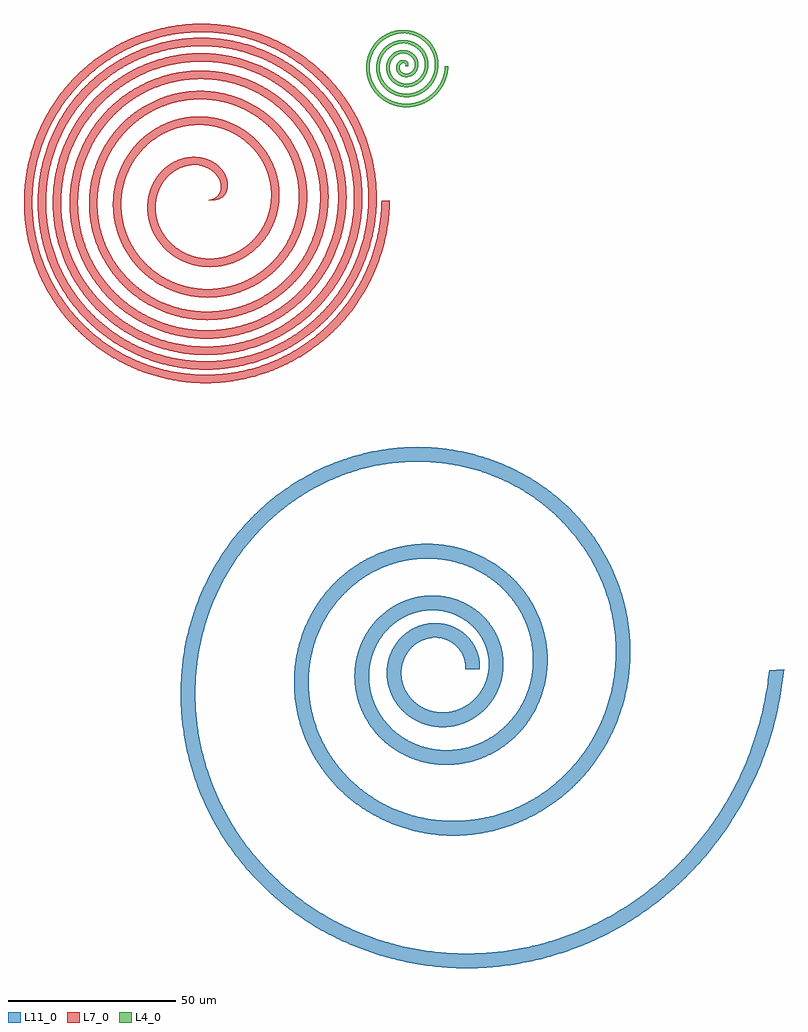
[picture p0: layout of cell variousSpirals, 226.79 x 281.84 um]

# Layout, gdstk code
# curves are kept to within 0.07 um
import gdstk
lib = gdstk.Library(unit=1e-6, precision=1e-09)
def P(c, l, *ps):  # polygons
    for p in ps: c.add(gdstk.Polygon(p, *l))
L4_0 = (4, 0)
L7_0 = (7, 0)
L11_0 = (11, 0)

variousspirals = lib.new_cell('variousSpirals')
P(variousspirals, L4_0, [(40,80),(40.18,80.078),(40.266,80.274),(40.961,80.995),(41.097,80.48),(41.001,80.003)],
  [(40.266,80.274),(40.204,80.541),(39.978,80.764),(39.944,81.764),(40.527,81.499),(40.961,80.995)],
  [(39.978,80.764),(39.592,80.869),(39.155,80.774),(38.413,81.446),(39.161,81.773),(39.944,81.764)],
  [(37.476,79.845),(37.783,80.757),(38.413,81.446),(39.155,80.774),(38.731,80.437),(38.475,79.911)],
  [(38.103,77.792),(37.572,78.763),(37.476,79.845),(38.475,79.911),(38.469,79.187),(38.752,78.555)],
  [(40.297,76.72),(39.055,77.045),(38.103,77.792),(38.752,78.555),(39.392,77.979),(40.201,77.717)],
  [(40.464,76.716),(40.297,76.72),(40.201,77.717),(41.187,77.814),(42.074,78.312),(42.857,77.688),(41.772,76.978)],
  [(42.857,77.688),(42.074,78.312),(42.751,79.2),(43.035,80.356),(44.028,80.484),(43.941,79.643),(43.7,78.894),(43.344,78.257)],
  [(43.035,80.356),(42.811,81.635),(42.091,82.728),(42.691,83.531),(43.598,82.304),(44.002,80.935),(44.028,80.484)],
  [(42.091,82.728),(41.52,83.195),(40.878,83.526),(40.201,83.719),(39.444,83.779),(39.285,84.768),(40.886,84.574),(42.278,83.877),(42.691,83.531)],
  [(36.592,82.458),(35.772,83.032),(36.323,83.58),(37.706,84.419),(39.285,84.768),(39.444,83.779),(38.711,83.692),(37.917,83.428),(37.213,83.016)],
  [(34.503,79.011),(34.506,80.066),(34.738,81.188),(35.166,82.17),(35.772,83.032),(36.592,82.458),(36.107,81.808),(35.732,81.021),(35.519,80.156),(35.487,79.201)],
  [(36.666,75.051),(35.818,75.879),(35.162,76.844),(34.72,77.904),(34.503,79.011),(35.487,79.201),(35.646,78.285),(35.994,77.402),(36.521,76.592),(37.214,75.889)],
  [(40.485,73.732),(39.425,73.821),(38.409,74.086),(37.465,74.514),(36.666,75.051),(37.214,75.889),(38.095,75.306),(39.048,74.927),(40.023,74.748),(41.086,74.764),(41.306,73.787)],
  [(41.306,73.787),(41.086,74.764),(42.194,75.013),(43.196,75.47),(44.101,76.13),(44.835,76.926),(45.69,76.404),(44.793,75.411),(43.788,74.663),(42.552,74.082)],
  [(45.69,76.404),(44.835,76.926),(45.464,77.966),(45.839,79.02),(46.013,80.202),(45.946,81.415),(46.915,81.666),(47.015,80.326),(46.845,78.94),(46.38,77.572)],
  [(45.946,81.415),(45.633,82.608),(45.079,83.732),(44.301,84.737),(43.323,85.579),(43.817,86.45),(44.638,85.802),(45.401,84.995),(45.99,84.154),(46.451,83.248),(46.915,81.666)],
  [(43.323,85.579),(42.18,86.218),(40.914,86.622),(39.574,86.767),(38.214,86.639),(37.933,87.601),(38.944,87.743),(40.034,87.748),(41.181,87.585),(42.208,87.282),(43.817,86.45)],
  [(33.659,83.53),(32.773,83.997),(34.015,85.523),(34.821,86.205),(35.843,86.848),(36.791,87.272),(37.933,87.601),(38.214,86.639),(36.888,86.238),(35.71,85.61),(34.559,84.657)],
  [(31.732,77.49),(31.493,79.191),(31.597,80.887),(32.032,82.51),(32.773,83.997),(33.659,83.53),(32.966,82.16),(32.595,80.803),(32.488,79.307),(32.684,77.801)],
  [(35.865,71.98),(34.414,73.036),(33.215,74.346),(32.311,75.852),(31.732,77.49),(32.684,77.801),(33.215,76.276),(33.971,75.003),(35.024,73.831),(36.305,72.88)],
  [(40.5,70.738),(39.3,70.813),(38.128,71.042),(37.003,71.419),(35.865,71.98),(36.305,72.88),(37.767,72.196),(39.435,71.802),(41.005,71.753),(42.653,72.026),(42.994,71.085),(41.708,70.82)],
  [(42.994,71.085),(42.653,72.026),(44.308,72.668),(45.675,73.546),(46.864,74.678),(47.912,76.182),(48.826,75.771),(47.734,74.16),(46.356,72.811),(44.753,71.774)],
  [(48.826,75.771),(47.912,76.182),(48.606,77.807),(48.965,79.555),(48.978,81.269),(48.61,83.147),(49.541,83.517),(49.955,81.537),(49.967,79.533),(49.583,77.586)],
  [(48.61,83.147),(47.895,84.845),(46.845,86.382),(45.496,87.692),(43.897,88.718),(44.279,89.644),(45.461,88.955),(46.458,88.192),(47.421,87.242),(48.248,86.182),(49.016,84.846),(49.541,83.517)],
  [(43.897,88.718),(42.108,89.412),(40.101,89.745),(38.145,89.664),(36.32,89.224),(35.921,90.143),(37.179,90.503),(38.573,90.719),(39.974,90.751),(41.36,90.602),(42.91,90.211),(44.279,89.644)],
  [(30.466,83.932),(29.528,84.285),(30.286,85.671),(31.299,87.014),(32.324,88.038),(33.467,88.915),(34.61,89.583),(35.921,90.143),(36.32,89.224),(34.508,88.389),(32.884,87.199),(31.516,85.695)],
  [(29.28,75.321),(28.658,77.564),(28.495,79.867),(28.766,82.026),(29.528,84.285),(30.466,83.932),(29.781,81.978),(29.496,79.907),(29.648,77.698),(30.186,75.748)],
  [(35.754,68.692),(33.643,69.842),(31.817,71.377),(30.345,73.229),(29.28,75.321),(30.186,75.748),(31.148,73.829),(32.485,72.124),(34.149,70.707),(36.078,69.641)],
  [(40.5,67.741),(38.07,67.98),(35.754,68.692),(36.078,69.641),(38.308,68.951),(40.429,68.74),(42.68,68.957),(44.861,69.623),(45.316,68.731),(42.949,67.992)],
  [(45.316,68.731),(44.861,69.623),(46.978,70.784),(48.66,72.207),(50.118,74.034),(51.192,76.132),(52.149,75.839),(50.998,73.556),(49.428,71.563),(47.403,69.864)],
  [(52.149,75.839),(51.192,76.132),(51.765,78.068),(51.999,79.967),(53,80),(52.759,77.941)])
P(variousspirals, L7_0, [(-20,40),(-18.615,40.042),(-17.483,40.253),(-16.576,40.659),(-15.872,41.232),(-15.302,42.042),(-14.975,42.944),(-14.867,44.066),(-15.015,45.133),(-13.282,46.949),(-12.864,45.338),(-12.85,43.835),(-13.236,42.41),(-14.026,41.225),(-14.968,40.517),(-16.064,40.127),(-17.117,40.007)],
  [(-15.015,45.133),(-15.632,46.655),(-16.824,48.168),(-18.391,49.328),(-20.295,50.115),(-20.398,52.62),(-18.565,52.056),(-16.915,51.213),(-15.494,50.131),(-14.276,48.766),(-13.282,46.949)],
  [(-29.139,48.371),(-31.01,50.039),(-29.778,50.894),(-28.485,51.6),(-26.602,52.333),(-24.542,52.78),(-22.363,52.875),(-20.398,52.62),(-20.295,50.115),(-22.439,50.452),(-24.708,50.288),(-26.983,49.594)],
  [(-36.785,38.98),(-36.578,40.652),(-36.248,42.113),(-35.73,43.671),(-35.061,45.147),(-34.253,46.525),(-33.319,47.791),(-32.272,48.935),(-31.01,50.039),(-29.139,48.371),(-31.054,46.65),(-31.962,45.509),(-32.68,44.366),(-33.718,41.955),(-34.073,40.586),(-34.286,39.165)],
  [(-32.063,25.968),(-33.258,27.381),(-34.291,28.893),(-35.153,30.485),(-35.84,32.138),(-36.347,33.834),(-36.673,35.552),(-36.818,37.274),(-36.785,38.98),(-34.286,39.165),(-34.351,37.708),(-34.262,36.23),(-34.016,34.75),(-33.563,33.138),(-32.986,31.705),(-32.335,30.458),(-31.469,29.134),(-30.458,27.891)],
  [(-18.201,20.05),(-20.2,20.153),(-21.967,20.417),(-23.875,20.895),(-25.707,21.558),(-27.445,22.397),(-29.228,23.506),(-30.716,24.671),(-32.063,25.968),(-30.458,27.891),(-29.311,26.745),(-28.038,25.71),(-26.504,24.718),(-25.003,23.962),(-23.415,23.357),(-21.756,22.913),(-20.041,22.638),(-18.466,22.54)],
  [(-18.201,20.05),(-18.466,22.54),(-16.697,22.602),(-14.926,22.846),(-13.171,23.274),(-11.453,23.883),(-9.79,24.672),(-8.201,25.634),(-6.704,26.763),(-5.317,28.049),(-3.344,26.507),(-4.895,25.031),(-6.574,23.73),(-8.362,22.615),(-10.238,21.693),(-12.181,20.973),(-14.17,20.458),(-16.184,20.15)],
  [(-3.344,26.507),(-5.317,28.049),(-4.057,29.482),(-2.836,31.212),(-1.89,32.909),(-1.115,34.709),(-0.521,36.592),(-0.117,38.542),(0.089,40.539),(0.101,42.359),(2.581,42.702),(2.579,40.432),(2.35,38.188),(1.899,35.995),(1.234,33.874),(0.364,31.846),(-0.699,29.93),(-1.94,28.145)],
  [(0.101,42.359),(-0.081,44.388),(-0.47,46.403),(-1.065,48.383),(-1.863,50.308),(-2.858,52.155),(-4.043,53.906),(-5.408,55.539),(-6.941,57.037),(-5.462,59.057),(-3.251,56.874),(-1.36,54.44),(0.287,51.592),(1.433,48.788),(2.196,45.883),(2.581,42.702)],
  [(-6.941,57.037),(-8.629,58.382),(-10.456,59.558),(-12.406,60.551),(-14.459,61.347),(-16.595,61.936),(-18.794,62.31),(-21.034,62.462),(-23.292,62.387),(-23.714,64.855),(-20.457,64.942),(-17.24,64.606),(-13.884,63.784),(-10.923,62.615),(-8.162,61.081),(-5.462,59.057)],
  [(-39.249,53.881),(-41.314,55.296),(-38.834,57.99),(-36.021,60.292),(-33.164,62.044),(-30.123,63.399),(-26.955,64.34),(-23.714,64.855),(-23.292,62.387),(-25.545,62.083),(-27.77,61.551),(-29.942,60.793),(-32.04,59.815),(-34.041,58.624),(-35.923,57.229),(-37.666,55.644)],
  [(-46.861,35.181),(-47.079,37.897),(-47.024,40.608),(-46.698,43.286),(-46.108,45.906),(-45.263,48.441),(-44.173,50.867),(-42.851,53.159),(-41.314,55.296),(-39.249,53.881),(-40.655,51.958),(-41.867,49.891),(-42.871,47.701),(-43.655,45.408),(-44.207,43.036),(-44.52,40.608),(-44.588,38.147),(-44.408,35.679)],
  [(-35.823,16.534),(-38.007,18.327),(-39.992,20.321),(-41.759,22.493),(-43.292,24.822),(-44.579,27.282),(-45.607,29.846),(-46.37,32.488),(-46.861,35.181),(-44.408,35.679),(-43.978,33.229),(-43.302,30.822),(-42.382,28.483),(-41.227,26.237),(-39.845,24.108),(-38.249,22.118),(-36.453,20.29),(-34.473,18.643)],
  [(-18.933,10.948),(-21.254,11.052),(-23.266,11.294),(-25.531,11.743),(-27.745,12.369),(-29.894,13.168),(-31.966,14.134),(-33.946,15.259),(-35.823,16.534),(-34.473,18.643),(-32.327,17.196),(-30.037,15.965),(-27.623,14.966),(-25.109,14.211),(-22.52,13.708),(-19.883,13.467),(-17.222,13.492),(-14.565,13.784),(-13.991,11.347),(-16.603,11.03)],
  [(-13.991,11.347),(-14.565,13.784),(-11.939,14.344),(-9.371,15.168),(-6.888,16.25),(-4.516,17.58),(-2.279,19.149),(-0.202,20.941),(1.693,22.941),(3.386,25.13),(5.535,23.846),(3.703,21.449),(1.649,19.255),(-0.606,17.286),(-3.037,15.56),(-5.619,14.092),(-8.324,12.894),(-11.125,11.977)],
  [(5.535,23.846),(3.386,25.13),(4.856,27.487),(6.088,29.99),(7.068,32.614),(7.782,35.335),(8.222,38.124),(8.381,40.955),(8.255,43.798),(7.844,46.626),(10.262,47.275),(10.726,44.202),(10.88,41.11),(10.724,38.029),(10.262,34.99),(9.5,32.023),(8.45,29.159),(7.123,26.424)],
  [(7.844,46.626),(7.149,49.409),(6.175,52.119),(4.929,54.728),(3.423,57.209),(1.67,59.535),(-0.315,61.682),(-2.513,63.626),(-4.903,65.347),(-3.686,67.535),(-0.587,65.281),(2.209,62.681),(4.849,59.523),(6.895,56.339),(8.035,54.098),(8.99,51.779),(9.669,49.698),(10.262,47.275)],
  [(-4.903,65.347),(-7.464,66.826),(-10.169,68.045),(-12.992,68.991),(-15.907,69.652),(-18.884,70.019),(-21.893,70.087),(-24.904,69.852),(-27.888,69.315),(-28.611,71.712),(-24.734,72.389),(-20.819,72.596),(-16.923,72.332),(-12.789,71.525),(-10.319,70.766),(-7.923,69.814),(-5.901,68.829),(-3.686,67.535)],
  [(-47.252,55.171),(-49.476,56.32),(-48.009,58.578),(-46.37,60.706),(-44.57,62.691),(-42.873,64.301),(-39.451,66.952),(-36.024,68.977),(-32.392,70.57),(-28.611,71.712),(-27.888,69.315),(-30.812,68.48),(-33.648,67.352),(-36.366,65.941),(-38.938,64.26),(-41.338,62.323),(-43.538,60.148),(-45.517,57.757)],
  [(-53.019,29.991),(-53.755,33.356),(-54.149,36.769),(-54.2,40.194),(-53.91,43.596),(-53.282,46.943),(-52.325,50.2),(-51.052,53.336),(-49.476,56.32),(-47.252,55.171),(-48.724,52.415),(-49.917,49.516),(-50.817,46.503),(-51.413,43.405),(-51.698,40.252),(-51.665,37.077),(-51.313,33.912),(-50.645,30.787)],
  [(-36.186,8.638),(-39.183,10.493),(-41.972,12.632),(-44.525,15.032),(-46.82,17.669),(-48.833,20.513),(-50.547,23.536),(-51.947,26.706),(-53.019,29.991),(-50.645,30.787),(-49.665,27.736),(-48.38,24.788),(-46.802,21.976),(-44.944,19.327),(-42.825,16.87),(-40.464,14.63),(-37.882,12.632),(-35.106,10.896)],
  [(-19.158,4.233),(-21.659,4.329),(-23.788,4.55),(-27.979,5.372),(-32.027,6.686),(-33.98,7.52),(-36.186,8.638),(-35.106,10.896),(-32.161,9.443),(-29.076,8.288),(-25.882,7.445),(-22.61,6.925),(-19.293,6.733),(-15.964,6.874),(-12.656,7.349),(-9.403,8.155),(-8.534,5.807),(-11.322,5.074),(-13.798,4.619),(-16.294,4.338)],
  [(-8.534,5.807),(-9.403,8.155),(-6.238,9.285),(-3.193,10.73),(-0.3,12.477),(2.412,14.511),(4.914,16.811),(7.179,19.358),(9.184,22.125),(10.907,25.087),(13.197,24.076),(11.361,20.89),(9.222,17.911),(6.802,15.168),(4.127,12.687),(1.225,10.491),(-1.875,8.602),(-5.139,7.036)],
  [(13.197,24.076),(10.907,25.087),(12.328,28.215),(13.433,31.479),(14.209,34.845),(14.645,38.282),(14.735,41.754),(14.477,45.226),(13.872,48.665),(12.924,52.035),(15.244,52.975),(16.275,49.368),(16.938,45.686),(17.23,41.965),(17.148,38.243),(16.695,34.557),(15.879,30.943),(14.708,27.438)],
  [(12.924,52.035),(11.64,55.301),(10.032,58.431),(8.114,61.392),(5.904,64.153),(3.423,66.687),(0.694,68.965),(-2.257,70.964),(-5.4,72.663),(-4.459,74.983),(-0.438,72.778),(3.279,70.115),(6.641,67.035),(9.601,63.584),(11.331,61.102),(12.854,58.495),(14.161,55.78),(15.244,52.975)],
  [(-5.4,72.663),(-8.706,74.042),(-12.141,75.086),(-15.672,75.784),(-19.265,76.126),(-22.882,76.107),(-26.488,75.725),(-30.046,74.984),(-33.521,73.888),(-34.532,76.178),(-32.319,76.935),(-30.069,77.556),(-25.486,78.387),(-23.17,78.594),(-20.849,78.661),(-16.225,78.379),(-13.182,77.885),(-10.195,77.15),(-7.281,76.18),(-4.459,74.983)],
  [(-54.372,54.175),(-56.72,55.045),(-55.339,57.9),(-53.737,60.631),(-51.924,63.22),(-49.914,65.652),(-48.284,67.363),(-46.557,68.972),(-44.739,70.472),(-42.837,71.858),(-38.809,74.271),(-34.532,76.178),(-33.521,73.888),(-36.877,72.446),(-40.08,70.672),(-43.097,68.582),(-45.896,66.195),(-48.449,63.535),(-50.728,60.625),(-52.71,57.495)],
  [(-57.001,23.868),(-58.346,27.668),(-59.303,31.576),(-59.863,35.551),(-60.023,39.554),(-59.782,43.544),(-59.146,47.482),(-58.121,51.328),(-56.72,55.045),(-54.372,54.175),(-55.698,50.697),(-56.672,47.096),(-57.283,43.408),(-57.522,39.668),(-57.386,35.914),(-56.874,32.185),(-55.991,28.517),(-54.742,24.947)],
  [(-34.442,1.59),(-38.168,3.299),(-41.697,5.366),(-44.995,7.771),(-48.03,10.488),(-50.772,13.489),(-53.197,16.742),(-55.279,20.213),(-57.001,23.868),(-54.742,24.947),(-53.14,21.513),(-51.198,18.249),(-48.934,15.188),(-46.37,12.363),(-43.531,9.802),(-40.443,7.533),(-37.137,5.58),(-33.644,3.963)],
  [(-19.159,-1.341),(-22.872,-1.175),(-26.55,-0.677),(-29.764,0.041),(-33.291,1.151),(-34.442,1.59),(-33.644,3.963),(-30,2.701),(-26.24,1.808),(-22.401,1.293),(-18.521,1.164),(-14.64,1.424),(-10.797,2.072),(-7.029,3.103),(-3.376,4.509),(-2.228,2.284),(-6.109,0.775),(-10.52,-0.425),(-15.026,-1.132)],
  [(-2.228,2.284),(-3.376,4.509),(0.126,6.276),(3.441,8.388),(6.535,10.826),(9.375,13.567),(11.932,16.583),(14.18,19.847),(16.094,23.327),(17.654,26.987),(20.051,26.262),(18.406,22.366),(16.384,18.66),(14.007,15.182),(11.299,11.965),(8.289,9.04),(5.008,6.436),(1.491,4.177)],
  [(20.051,26.262),(17.654,26.987),(18.742,30.407),(19.448,33.523),(19.903,36.691),(20.104,39.89),(20.086,42.298),(19.923,44.703),(19.617,47.097),(19.166,49.471),(18.573,51.816),(17.84,54.125),(16.138,58.233),(18.327,59.448),(20.004,55.495),(21.274,51.403),(22.128,47.212),(22.558,42.965),(22.562,38.704),(22.141,34.472),(21.3,30.31)],
  [(16.138,58.233),(14.62,61.095),(12.641,64.164),(10.653,66.736),(8.462,69.145),(5.144,72.162),(3.196,73.65),(1.161,75.021),(-0.955,76.268),(-3.145,77.387),(-5.4,78.375),(-7.714,79.226),(-7.062,81.643),(-4.604,80.748),(-2.208,79.709),(2,77.442),(4.18,76.016),(6.267,74.464),(8.256,72.792),(10.139,71.004),(12.75,68.124),(14.842,65.38),(16.704,62.481),(18.327,59.448)],
  [(-39.873,76.686),(-41.154,78.837),(-37.551,80.518),(-34.237,81.733),(-30.841,82.677),(-27.385,83.346),(-24.768,83.665),(-22.139,83.826),(-17.32,83.711),(-14.709,83.425),(-12.123,82.984),(-9.571,82.389),(-7.062,81.643),(-7.714,79.226),(-11.676,80.332),(-15.736,81.039),(-19.854,81.337),(-23.989,81.222),(-28.099,80.694),(-32.144,79.756),(-36.082,78.416)],
  [(-60.749,51.468),(-63.185,52.047),(-61.864,55.855),(-60.408,59.124),(-58.698,62.262),(-56.745,65.249),(-55.129,67.379),(-53.39,69.406),(-51.534,71.323),(-49.568,73.123),(-45.705,76.1),(-43.469,77.538),(-41.154,78.837),(-39.873,76.686),(-43.48,74.582),(-46.864,72.124),(-49.991,69.335),(-52.829,66.242),(-55.349,62.874),(-57.524,59.266),(-59.33,55.451)],
  [(-59.248,17.111),(-61.269,21.175),(-62.871,25.413),(-64.04,29.783),(-64.766,34.24),(-65.042,38.74),(-64.868,43.238),(-64.246,47.688),(-63.185,52.047),(-60.749,51.468),(-61.594,48.187),(-62.176,44.843),(-62.508,41.035),(-62.515,37.631),(-62.079,32.964),(-61.625,30.444),(-61.021,27.952),(-60.267,25.499),(-59.366,23.093),(-58.321,20.743),(-57.136,18.457)],
  [(-31.067,-4.676),(-35.447,-3.279),(-39.659,-1.454),(-43.661,0.779),(-47.414,3.397),(-50.882,6.371),(-54.029,9.671),(-56.827,13.264),(-59.248,17.111),(-57.136,18.457),(-55.345,15.524),(-53.053,12.404),(-50.785,9.809),(-47.99,7.113),(-45.994,5.459),(-43.901,3.925),(-39.833,1.447),(-37.503,0.287),(-35.106,-0.733),(-30.563,-2.224)],
  [(-19.207,-6.21),(-21.977,-6.131),(-25.193,-5.829),(-28.376,-5.303),(-31.067,-4.676),(-30.563,-2.224),(-27.164,-2.991),(-23.276,-3.526),(-19.787,-3.708),(-15.853,-3.577),(-13.241,-3.293),(-10.648,-2.853),(-5.974,-1.643),(-3.486,-0.768),(-1.053,0.256),(3.238,2.509),(4.647,0.439),(1.796,-1.143),(-1.156,-2.52),(-3.755,-3.533),(-6.854,-4.514),(-10.01,-5.274),(-12.75,-5.749),(-15.972,-6.093)],
  [(4.647,0.439),(3.238,2.509),(6.553,4.697),(9.328,6.888),(11.922,9.298),(14.603,12.251),(17.507,16.174),(18.906,18.445),(20.167,20.799),(22.107,25.298),(22.954,27.838),(23.648,30.426),(26.115,29.996),(24.817,25.464),(23.076,21.091),(20.911,16.921),(18.344,12.993),(15.401,9.347),(12.115,6.019),(8.518,3.04)],
  [(26.115,29.996),(23.648,30.426),(24.396,34.38),(24.76,37.943),(24.828,41.977),(24.583,45.56),(24.211,48.231),(23.68,50.878),(22.295,55.634),(20.393,60.218),(19.144,62.625),(17.753,64.955),(19.779,66.426),(22.156,62.289),(24.105,57.943),(25.608,53.43),(26.651,48.796),(27.225,44.089),(27.326,39.355),(26.954,34.642)],
  [(17.753,64.955),(15.407,68.287),(13.074,71.064),(10.524,73.65),(7.414,76.308),(5.211,77.921),(2.913,79.401),(-1.52,81.749),(-6.192,83.599),(-8.82,84.389),(-11.495,85.021),(-11.139,87.499),(-8.317,86.842),(-6.001,86.166),(-3.272,85.204),(-0.609,84.081),(1.981,82.802),(4.075,81.619),(6.504,80.065),(8.833,78.37),(12.123,75.577),(14.822,72.857),(17.292,69.934),(19.519,66.826),(19.779,66.426)],
  [(-46.69,77.922),(-48.221,79.903),(-47.41,80.448),(-44.063,82.461),(-40.569,84.198),(-36.952,85.648),(-33.235,86.804),(-30.395,87.472),(-27.524,87.969),(-25.113,88.251),(-22.209,88.429),(-19.786,88.444),(-16.884,88.302),(-13.998,87.987),(-11.139,87.499),(-11.495,85.021),(-14.204,85.491),(-16.94,85.799),(-21.989,85.934),(-27.031,85.514),(-29.757,85.051),(-32.452,84.425),(-35.981,83.34),(-39.839,81.784),(-43.546,79.886)],
  [(-66.34,47.36),(-68.829,47.641),(-68.653,48.613),(-67.756,52.46),(-66.556,56.219),(-65.061,59.865),(-63.281,63.377),(-62.029,65.493),(-60.391,67.944),(-58.61,70.29),(-56.694,72.523),(-54.648,74.636),(-52.851,76.299),(-50.589,78.171),(-48.221,79.903),(-46.69,77.922),(-50.742,74.82),(-52.803,72.943),(-54.75,70.944),(-56.576,68.83),(-57.999,66.986),(-59.584,64.68),(-61.029,62.282),(-62.922,58.529),(-64.317,55.057),(-65.432,51.481)],
  [(-59.934,9.97),(-62.675,14.142),(-64.982,18.56),(-66.834,23.181),(-68.213,27.957),(-69.108,32.84),(-69.509,37.782),(-69.415,42.732),(-68.829,47.641),(-66.34,47.36),(-66.835,43.638),(-67.033,39.413),(-66.851,35.182),(-66.37,31.443),(-65.813,28.668),(-65.221,26.383),(-64.362,23.682),(-63.341,21.035),(-62.369,18.877),(-61.061,16.355),(-59.603,13.913),(-58,11.561)],
  [(-26.347,-10.101),(-31.302,-9.152),(-36.132,-7.715),(-40.787,-5.805),(-45.222,-3.443),(-49.394,-0.654),(-53.261,2.534),(-56.786,6.087),(-59.934,9.97),(-58,11.561),(-55.646,8.579),(-52.719,5.458),(-49.888,2.912),(-46.467,0.326),(-44.061,-1.225),(-41.564,-2.629),(-39.42,-3.684),(-36.78,-4.808),(-34.074,-5.772),(-31.314,-6.572),(-28.508,-7.206),(-26.142,-7.605)],
  [(-19.293,-10.59),(-22.83,-10.469),(-26.347,-10.101),(-26.142,-7.605),(-21.841,-8.025),(-17.995,-8.071),(-13.675,-7.756),(-9.867,-7.15),(-7.048,-6.496),(-4.73,-5.822),(-1.995,-4.86),(0.68,-3.736),(3.284,-2.452),(5.809,-1.013),(7.846,0.301),(10.201,2.012),(11.849,0.127),(8.104,-2.525),(4.59,-4.589),(0.926,-6.363),(-2.864,-7.837),(-7.248,-9.126),(-11.223,-9.936),(-15.247,-10.424)],
  [(11.849,0.127),(10.201,2.012),(13.176,4.508),(16.276,7.594),(19.089,10.95),(21.33,14.139),(22.841,16.645),(24.2,19.239),(25.213,21.462),(26.28,24.194),(27.044,26.518),(27.806,29.354),(28.397,32.234),(28.814,35.146),(31.315,35.016),(30.497,29.931),(29.177,24.959),(27.37,20.15),(25.094,15.551),(22.373,11.209),(19.237,7.164),(15.717,3.458)],
  [(31.315,35.016),(28.814,35.146),(29.112,39.552),(29.042,43.482),(28.659,47.398),(27.854,51.756),(27.1,54.616),(26.341,56.962),(25.276,59.726),(24.046,62.423),(22.656,65.044),(21.11,67.578),(19.706,69.618),(17.888,71.97),(19.723,73.675),(22.833,69.504),(25.508,65.05),(27.722,60.356),(29.453,55.471),(30.687,50.443),(31.412,45.324),(31.621,40.164)],
  [(17.888,71.97),(15.249,74.932),(12.004,78.003),(8.492,80.773),(5.168,82.964),(2.564,84.43),(-0.125,85.739),(-2.425,86.705),(-5.246,87.712),(-8.124,88.548),(-10.559,89.112),(-13.516,89.628),(-16.501,89.966),(-16.447,92.469),(-13.312,92.124),(-10.721,91.693),(-7.647,91.006),(-4.622,90.137),(-2.146,89.275),(0.761,88.081),(3.589,86.715),(6.329,85.183),(9.826,82.892),(13.126,80.332),(16.207,77.519),(18.709,74.864),(19.723,73.675)],
  [(-53.745,77.7),(-55.504,79.482),(-54.291,80.515),(-51.347,82.779),(-47.802,85.104),(-44.085,87.136),(-40.222,88.863),(-37.744,89.783),(-34.716,90.721),(-31.64,91.475),(-28.526,92.042),(-25.911,92.372),(-22.758,92.594),(-19.599,92.626),(-16.447,92.469),(-16.501,89.966),(-19.503,90.124),(-22.512,90.102),(-25.516,89.899),(-28.008,89.592),(-30.976,89.06),(-33.422,88.481),(-36.318,87.625),(-39.159,86.596),(-42.844,84.961),(-46.823,82.774),(-50.186,80.535)],
  [(-73.562,42.058),(-73.027,47.387),(-71.963,52.629),(-70.384,57.732),(-68.305,62.647),(-65.749,67.324),(-62.741,71.717),(-59.315,75.783),(-55.504,79.482),(-53.745,77.7),(-56.686,74.918),(-59.721,71.514),(-62.44,67.848),(-64.821,63.948),(-66.211,61.233),(-67.436,58.437),(-68.328,56.053),(-69.24,53.136),(-69.866,50.665),(-70.453,47.662),(-70.804,45.134),(-71.058,42.079)],
  [(-59.154,2.667),(-62.637,6.801),(-65.685,11.256),(-68.271,15.988),(-70.369,20.949),(-71.959,26.089),(-73.026,31.356),(-73.562,36.697),(-73.562,42.058),(-71.058,42.079),(-71.094,37.479),(-70.779,33.398),(-70.035,28.848),(-68.883,24.379),(-67.894,21.463),(-66.936,19.079),(-65.63,16.285),(-64.415,14.019),(-63.087,11.814),(-61.349,9.259),(-59.46,6.811),(-57.425,4.479)],
  [(-20.502,-14.591),(-25.943,-14.207),(-31.313,-13.283),(-36.557,-11.829),(-41.624,-9.86),(-46.463,-7.399),(-51.028,-4.469),(-55.272,-1.102),(-59.154,2.667),(-57.425,4.479),(-54.118,1.217),(-50.939,-1.425),(-47.12,-4.086),(-43.073,-6.394),(-40.264,-7.729),(-37.864,-8.711),(-34.921,-9.73),(-31.921,-10.571),(-29.384,-11.134),(-26.305,-11.641),(-23.2,-11.963),(-20.599,-12.089)],
  [(-19.41,-14.603),(-20.502,-14.591),(-20.599,-12.089),(-15.911,-11.987),(-11.761,-11.542),(-7.149,-10.647),(-2.63,-9.339),(0.311,-8.242),(3.184,-6.97),(5.977,-5.527),(8.236,-4.198),(10.857,-2.455),(12.959,-0.883),(14.982,0.792),(17.296,2.935),(19.159,1.261),(15.057,-2.407),(11.073,-5.342),(6.362,-8.164),(1.398,-10.498),(-3.769,-12.324),(-9.086,-13.623),(-14.5,-14.384)],
  [(19.159,1.261),(17.296,2.935),(20.176,6.002),(23.113,9.72),(25.708,13.69),(27.708,17.406),(28.806,19.807),(29.963,22.758),(30.942,25.775),(31.619,28.332),(32.167,30.922),(32.654,34.062),(32.915,36.699),(33.054,39.878),(35.555,40),(35.218,34.46),(34.33,28.987),(33.068,24.164),(31.166,18.968),(28.757,13.994),(26.176,9.747),(22.878,5.326)])
P(variousspirals, L11_0, [(58,-100),(57.999,-98.379),(57.644,-96.678),(56.97,-95.129),(56.038,-93.783),(59.079,-90.6),(60.558,-92.578),(61.172,-93.71),(61.71,-95.011),(62.307,-97.47),(62.402,-99.966)],
  [(56.038,-93.783),(54.707,-92.505),(53.187,-91.552),(51.475,-90.907),(49.726,-90.616),(49.56,-86.216),(52.276,-86.587),(54.829,-87.476),(57.125,-88.836),(59.079,-90.6)],
  [(42.501,-93.131),(39.227,-90.186),(40.328,-89.235),(41.511,-88.404),(42.761,-87.7),(44.066,-87.128),(45.413,-86.692),(46.786,-86.394),(49.56,-86.216),(49.726,-90.616),(47.728,-90.686),(45.841,-91.147),(44.047,-91.991)],
  [(34.609,-100.942),(34.701,-99.405),(34.944,-97.896),(35.334,-96.429),(35.864,-95.018),(36.528,-93.676),(37.316,-92.417),(38.219,-91.25),(39.227,-90.186),(42.501,-93.131),(41.109,-94.651),(40.027,-96.454),(39.309,-98.476),(39.002,-100.643)],
  [(39.355,-112.394),(38.257,-111.187),(37.291,-109.887),(36.466,-108.507),(35.788,-107.062),(35.216,-105.416),(34.888,-104.039),(34.67,-102.492),(34.609,-100.942),(39.002,-100.643),(39.152,-102.984),(39.758,-105.182),(40.747,-107.158),(42.199,-109.032)],
  [(51.217,-117.263),(49.491,-117.17),(47.796,-116.908),(46.147,-116.481),(44.717,-115.961),(43.2,-115.241),(41.773,-114.38),(40.449,-113.388),(39.355,-112.394),(42.199,-109.032),(44.131,-110.682),(46.297,-111.87),(48.703,-112.619),(51.131,-112.879),(51.564,-117.261)],
  [(51.564,-117.261),(51.131,-112.879),(52.566,-112.817),(53.872,-112.623),(56.304,-111.888),(58.713,-110.609),(60.862,-108.841),(64.309,-111.582),(62.983,-112.855),(61.547,-113.98),(60.017,-114.949),(58.411,-115.755),(56.745,-116.393),(55.037,-116.857),(53.304,-117.147)],
  [(64.309,-111.582),(60.862,-108.841),(61.808,-107.79),(62.653,-106.638),(63.452,-105.267),(64.05,-103.937),(64.82,-101.236),(65.019,-99.747),(65.068,-98.232),(69.436,-97.665),(69.432,-99.426),(69.243,-101.358),(68.865,-103.247),(68.305,-105.075),(67.572,-106.824),(66.576,-108.639),(65.512,-110.173)],
  [(65.068,-98.232),(64.966,-96.703),(64.708,-95.178),(64.344,-93.82),(63.729,-92.197),(63.011,-90.774),(62.145,-89.416),(61.139,-88.138),(59.999,-86.956),(62.633,-83.425),(63.972,-84.736),(65.052,-85.99),(66.136,-87.489),(66.977,-88.888),(67.7,-90.341),(68.367,-92.027),(68.876,-93.754),(69.195,-95.312),(69.436,-97.665)],
  [(59.999,-86.956),(58.6,-85.781),(57.209,-84.843),(55.717,-84.04),(54.136,-83.384),(52.313,-82.842),(50.768,-82.548),(49.189,-82.391),(47.409,-82.385),(46.708,-78.036),(48.484,-77.985),(50.246,-78.075),(52.2,-78.342),(53.899,-78.723),(55.754,-79.308),(57.343,-79.962),(60.31,-81.623),(62.633,-83.425)],
  [(34.356,-88.719),(30.745,-86.195),(32.027,-84.799),(33.408,-83.519),(34.877,-82.361),(36.423,-81.33),(38.036,-80.432),(39.705,-79.67),(41.418,-79.048),(43.164,-78.567),(44.931,-78.23),(46.708,-78.036),(47.409,-82.385),(45.62,-82.558),(43.84,-82.913),(42.086,-83.448),(40.377,-84.163),(38.572,-85.153),(37.017,-86.231),(35.704,-87.34)],
  [(25.1,-104.479),(24.985,-101.954),(25.121,-99.452),(25.502,-96.995),(26.121,-94.609),(26.968,-92.315),(28.031,-90.135),(29.295,-88.089),(30.745,-86.195),(34.356,-88.719),(33.14,-90.24),(32.072,-91.891),(31.164,-93.658),(30.367,-95.717),(29.837,-97.676),(29.526,-99.493),(29.373,-101.555),(29.426,-103.642)],
  [(34.892,-122.426),(33.066,-120.82),(31.23,-118.867),(29.61,-116.759),(28.221,-114.518),(27.072,-112.17),(26.17,-109.739),(25.521,-107.251),(25.1,-104.479),(29.426,-103.642),(29.691,-105.735),(30.167,-107.812),(30.936,-110.052),(31.854,-112.024),(32.976,-113.914),(34.294,-115.7),(35.64,-117.203),(37.303,-118.737)],
  [(52.493,-128.524),(49.919,-128.416),(47.665,-128.128),(45.455,-127.664),(43.04,-126.938),(40.971,-126.12),(38.745,-125.013),(36.644,-123.72),(34.892,-122.426),(37.303,-118.737),(39.129,-120.111),(41.102,-121.308),(43.206,-122.312),(45.649,-123.176),(47.964,-123.731),(50.347,-124.055),(52.53,-124.143),(54.977,-124.008),(55.95,-128.307)],
  [(55.95,-128.307),(54.977,-124.008),(57.667,-123.575),(60.082,-122.92),(62.444,-122.018),(64.726,-120.873),(66.905,-119.492),(68.955,-117.885),(70.671,-116.255),(72.414,-114.252),(76.178,-116.545),(74.187,-118.913),(71.989,-121.052),(69.609,-122.945),(67.074,-124.578),(64.412,-125.937),(61.651,-127.016),(58.82,-127.807)],
  [(76.178,-116.545),(72.414,-114.252),(73.963,-112.063),(75.42,-109.463),(76.502,-106.947),(77.335,-104.31),(77.906,-101.575),(78.205,-98.769),(78.222,-95.918),(77.991,-93.339),(82.258,-92.23),(82.589,-95.528),(82.59,-98.814),(82.265,-102.056),(81.624,-105.221),(80.679,-108.281),(79.445,-111.205),(77.938,-113.968)],
  [(77.991,-93.339),(77.46,-90.483),(76.638,-87.666),(75.527,-84.918),(73.98,-82.011),(72.286,-79.502),(70.33,-77.153),(68.128,-74.988),(65.95,-73.22),(68.122,-69.383),(70.095,-70.904),(71.946,-72.55),(73.667,-74.31),(75.251,-76.174),(76.692,-78.133),(77.985,-80.174),(79.125,-82.289),(80.108,-84.464),(81.422,-88.303),(82.258,-92.23)],
  [(65.95,-73.22),(63.056,-71.317),(60.229,-69.857),(57.241,-68.675),(54.119,-67.788),(51.218,-67.255),(47.922,-66.968),(44.581,-67.013),(41.227,-67.394),(39.981,-63.164),(42.627,-62.784),(44.899,-62.608),(47.542,-62.575),(50.165,-62.725),(52.755,-63.057),(55.299,-63.565),(57.786,-64.246),(60.205,-65.094),(62.544,-66.102),(64.478,-67.089),(68.122,-69.383)],
  [(18.041,-82.209),(14.133,-80.162),(15.822,-77.841),(17.388,-75.96),(19.341,-73.901),(21.116,-72.258),(23.294,-70.49),(25.244,-69.107),(27.605,-67.653),(30.046,-66.376),(32.556,-65.279),(35.119,-64.365),(37.35,-63.73),(39.981,-63.164),(41.227,-67.394),(37.895,-68.115),(34.296,-69.301),(31.122,-70.731),(28.076,-72.488),(25.193,-74.561),(22.503,-76.935),(20.275,-79.315)],
  [(7.864,-112.793),(7.184,-108.447),(6.944,-104.093),(7.137,-99.776),(7.754,-95.538),(8.781,-91.42),(10.202,-87.461),(11.994,-83.697),(14.133,-80.162),(18.041,-82.209),(16.087,-85.342),(14.292,-89.034),(13.007,-92.58),(12.074,-96.273),(11.508,-100.078),(11.324,-103.96),(11.529,-107.88),(12.053,-111.408)],
  [(28.308,-142.074),(24.449,-139.34),(20.914,-136.262),(17.733,-132.879),(14.93,-129.228),(12.527,-125.35),(10.541,-121.29),(8.984,-117.089),(7.864,-112.793),(12.053,-111.408),(13.014,-115.291),(14.371,-119.098),(16.118,-122.786),(18.246,-126.316),(20.741,-129.65),(23.584,-132.749),(26.755,-135.576),(30.226,-138.098)],
  [(54.679,-149.635),(51.188,-149.523),(47.736,-149.171),(44.338,-148.581),(41.012,-147.761),(37.771,-146.717),(34.632,-145.458),(31.607,-143.991),(28.308,-142.074),(30.226,-138.098),(33.968,-140.283),(37.95,-142.101),(42.135,-143.527),(46.485,-144.538),(50.958,-145.115),(55.512,-145.244),(60.102,-144.915),(64.682,-144.121),(66.208,-148.264),(63.212,-148.88),(60.703,-149.254),(57.688,-149.535)],
  [(66.208,-148.264),(64.682,-144.121),(67.405,-143.421),(69.652,-142.71),(74.057,-140.942),(78.306,-138.721),(82.352,-136.06),(86.15,-132.979),(89.32,-129.864),(92.528,-126.048),(95.367,-121.89),(99.408,-123.673),(96.692,-127.787),(93.285,-132.014),(89.509,-135.845),(85.407,-139.248),(81.026,-142.199),(76.415,-144.674),(71.624,-146.659),(68.685,-147.61)],
  [(99.408,-123.673),(95.367,-121.89),(97.802,-117.425),(99.798,-112.692),(101.327,-107.734),(102.364,-102.597),(102.888,-97.33),(102.883,-91.983),(102.339,-86.611),(101.251,-81.266),(105.342,-79.599),(106.033,-82.471),(106.576,-85.362),(106.973,-88.262),(107.224,-91.165),(107.328,-94.063),(107.288,-96.95),(107.105,-99.818),(106.78,-102.66),(106.316,-105.469),(105.715,-108.239),(104.113,-113.634),(102,-118.794)],
  [(101.251,-81.266),(100.503,-78.621),(99.425,-75.485),(98.38,-72.91),(97.201,-70.378),(95.89,-67.896),(94.45,-65.471),(92.883,-63.108),(91.191,-60.816),(89.377,-58.599),(87.445,-56.466),(85.399,-54.422),(83.243,-52.472),(80.981,-50.624),(78.617,-48.882),(74.123,-46.034),(75.766,-41.931),(79.039,-43.895),(82.171,-46.039),(85.152,-48.354),(87.973,-50.83),(90.626,-53.455),(93.104,-56.22),(95.762,-59.605),(97.835,-62.631),(100.006,-66.287),(102.152,-70.61),(103.933,-75.057),(105.342,-79.599)],
  [(74.123,-46.034),(71.503,-44.619),(68.802,-43.331),(65.462,-41.958),(62.605,-40.964),(59.687,-40.109),(56.715,-39.397),(53.696,-38.832),(50.638,-38.417),(47.547,-38.154),(44.431,-38.044),(41.298,-38.091),(38.156,-38.296),(32.501,-39.064),(29.374,-39.714),(26.269,-40.524),(24.457,-36.491),(28.433,-35.437),(32.442,-34.628),(36.47,-34.063),(40.501,-33.743),(44.522,-33.666),(48.518,-33.828),(52.475,-34.228),(56.379,-34.86),(61.478,-36.057),(66.428,-37.646),(71.2,-39.61),(75.766,-41.931)],
  [(-14.13,-73.553),(-18.292,-72.055),(-15.347,-66.937),(-12.028,-62.106),(-8.361,-57.59),(-4.375,-53.413),(-1.195,-50.516),(2.135,-47.83),(5.6,-45.362),(9.186,-43.118),(12.88,-41.105),(16.666,-39.327),(20.53,-37.788),(24.457,-36.491),(26.269,-40.524),(23.192,-41.492),(19.55,-42.863),(16.566,-44.178),(13.636,-45.648),(10.769,-47.27),(7.973,-49.043),(5.256,-50.962),(2.625,-53.026),(0.087,-55.229),(-2.349,-57.568),(-4.677,-60.038),(-6.89,-62.634),(-8.98,-65.351),(-10.942,-68.184)],
  [(-22.922,-131.832),(-24.071,-128.015),(-25.024,-124.164),(-25.779,-120.288),(-26.338,-116.398),(-26.699,-112.503),(-26.865,-108.613),(-26.836,-104.739),(-26.615,-100.888),(-26.203,-97.072),(-25.605,-93.299),(-24.822,-89.577),(-23.859,-85.917),(-22.72,-82.327),(-21.409,-78.814),(-19.931,-75.388),(-18.292,-72.055),(-14.13,-73.553),(-16.569,-78.592),(-17.894,-81.855),(-18.84,-84.523),(-19.682,-87.237),(-20.585,-90.689),(-21.674,-96.331),(-22.197,-100.639),(-22.463,-104.997),(-22.484,-108.656),(-22.267,-113.065),(-21.783,-117.479),(-21.03,-121.883),(-20.198,-125.533),(-18.953,-129.875)],
  [(19.829,-180.35),(16.013,-178.369),(12.317,-176.21),(8.752,-173.881),(5.323,-171.387),(2.039,-168.739),(-1.094,-165.943),(-4.07,-163.008),(-6.881,-159.942),(-9.524,-156.755),(-11.992,-153.456),(-14.281,-150.053),(-16.388,-146.557),(-18.308,-142.977),(-20.039,-139.323),(-21.577,-135.605),(-22.922,-131.832),(-18.953,-129.875),(-17.711,-133.451),(-16.585,-136.276),(-15.342,-139.066),(-13.625,-142.495),(-11.73,-145.851),(-10.087,-148.476),(-6.471,-153.549),(-3.478,-157.181),(-0.254,-160.648),(3.194,-163.935),(6.229,-166.526),(10.058,-169.446),(13.396,-171.713),(17.568,-174.223),(21.175,-176.131)],
  [(58.122,-189.207),(53.636,-189.077),(48.298,-188.628),(43.899,-188.013),(38.697,-186.991),(34.438,-185.909),(29.432,-184.339),(24.557,-182.483),(19.829,-180.35),(21.175,-176.131),(25.646,-178.19),(30.261,-179.988),(35.003,-181.516),(39.857,-182.764),(44.807,-183.724),(49.836,-184.389),(54.926,-184.754),(59.202,-184.825),(66.079,-184.492),(69.523,-184.117),(73.821,-183.452),(80.659,-181.935),(84.047,-180.966),(87.406,-179.859),(89.513,-183.757),(85.994,-184.946),(82.445,-185.989),(78.87,-186.887),(72.571,-188.104),(68.958,-188.598),(65.341,-188.946),(61.727,-189.149)],
  [(89.513,-183.757),(87.406,-179.859),(90.733,-178.613),(94.834,-176.862),(98.863,-174.899),(102.027,-173.177),(105.132,-171.323),(108.922,-168.821),(111.874,-166.676),(114.749,-164.406),(118.907,-160.771),(122.863,-156.87),(126.6,-152.714),(129.535,-149.064),(132.83,-144.473),(135.375,-140.479),(137.729,-136.343),(140.29,-131.203),(144.563,-132.39),(142.383,-136.899),(139.993,-141.273),(137.399,-145.501),(135.183,-148.773),(132.246,-152.717),(129.129,-156.491),(125.844,-160.088),(122.4,-163.5),(118.807,-166.72),(115.075,-169.742),(111.215,-172.56),(107.239,-175.17),(103.156,-177.566),(98.979,-179.745),(93.858,-182.068)],
  [(144.563,-132.39),(140.29,-131.203),(141.833,-127.678),(143.568,-123.17),(144.798,-119.487),(145.884,-115.744),(146.824,-111.944),(147.613,-108.095),(148.251,-104.202),(148.735,-100.271),(153.162,-100),(152.686,-104.11),(152.048,-108.181),(151.251,-112.209),(150.297,-116.186),(148.889,-121.077),(147.593,-124.919),(146.15,-128.692)])

lib.write_gds('variousSpirals.gds')
